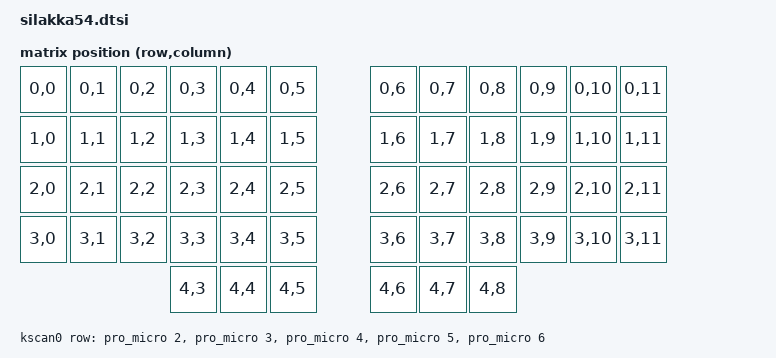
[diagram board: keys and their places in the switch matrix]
/*
 * Copyright (c) 2024 The ZMK Contributors
 *
 * SPDX-License-Identifier: MIT
 */

#include <dt-bindings/zmk/matrix_transform.h>

/ {
    chosen {
        zmk,kscan = &kscan0;
        zmk,matrix-transform = &default_transform;
    };

    default_transform: keymap_transform_0 {
        compatible = "zmk,matrix-transform";
        columns = <12>;
        rows = <5>;
        
        // Matrix layout:
        // | L00 | L01 | L02 | L03 | L04 | L05 |           | R00 | R01 | R02 | R03 | R04 | R05 |
        // | L10 | L11 | L12 | L13 | L14 | L15 |           | R10 | R11 | R12 | R13 | R14 | R15 |
        // | L20 | L21 | L22 | L23 | L24 | L25 |           | R20 | R21 | R22 | R23 | R24 | R25 |
        // | L30 | L31 | L32 | L33 | L34 | L35 |           | R30 | R31 | R32 | R33 | R34 | R35 |
        //                   | L43 | L44 | L45 |           | R43 | R44 | R45 |
        
        map = <
            RC(0,0) RC(0,1) RC(0,2) RC(0,3) RC(0,4) RC(0,5)  RC(0,6) RC(0,7) RC(0,8) RC(0,9) RC(0,10) RC(0,11)
            RC(1,0) RC(1,1) RC(1,2) RC(1,3) RC(1,4) RC(1,5)  RC(1,6) RC(1,7) RC(1,8) RC(1,9) RC(1,10) RC(1,11)
            RC(2,0) RC(2,1) RC(2,2) RC(2,3) RC(2,4) RC(2,5)  RC(2,6) RC(2,7) RC(2,8) RC(2,9) RC(2,10) RC(2,11)
            RC(3,0) RC(3,1) RC(3,2) RC(3,3) RC(3,4) RC(3,5)  RC(3,6) RC(3,7) RC(3,8) RC(3,9) RC(3,10) RC(3,11)
                                    RC(4,3) RC(4,4) RC(4,5)  RC(4,6) RC(4,7) RC(4,8)
        >;
    };

    kscan0: kscan {
        compatible = "zmk,kscan-gpio-matrix";
        wakeup-source;

        diode-direction = "col2row";
        
        // Row pins - GP2, GP3, GP4, GP5, GP6
        row-gpios
            = <&pro_micro 2 (GPIO_ACTIVE_HIGH | GPIO_PULL_DOWN)>
            , <&pro_micro 3 (GPIO_ACTIVE_HIGH | GPIO_PULL_DOWN)>
            , <&pro_micro 4 (GPIO_ACTIVE_HIGH | GPIO_PULL_DOWN)>
            , <&pro_micro 5 (GPIO_ACTIVE_HIGH | GPIO_PULL_DOWN)>
            , <&pro_micro 6 (GPIO_ACTIVE_HIGH | GPIO_PULL_DOWN)>
            ;
    };
};
